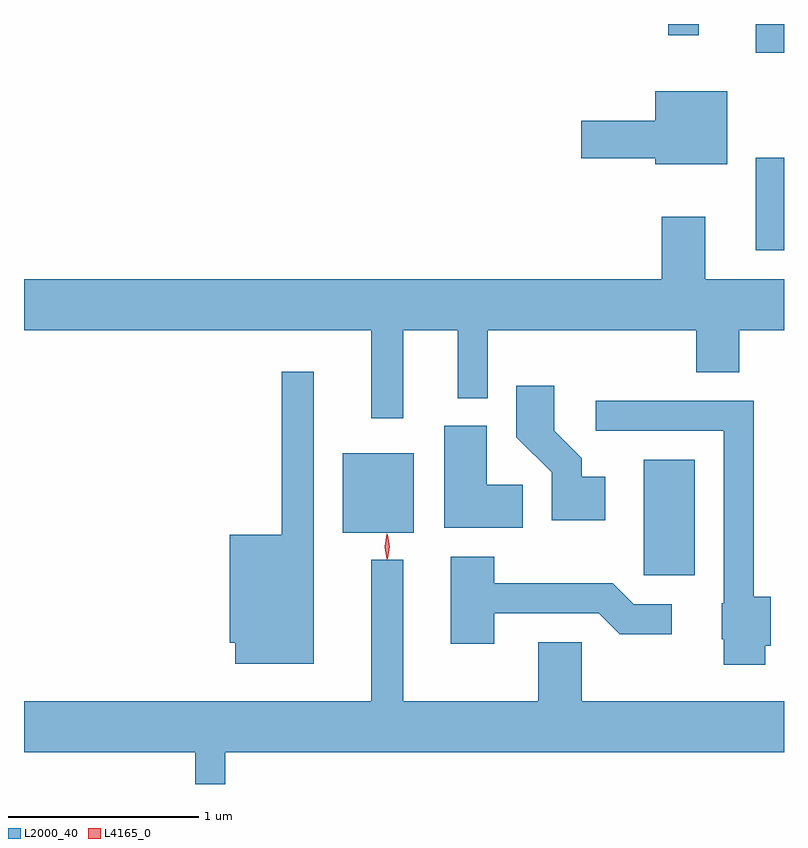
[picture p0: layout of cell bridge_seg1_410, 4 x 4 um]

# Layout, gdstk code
import gdstk
lib = gdstk.Library(unit=1e-6, precision=1e-09)
def R(c, l, rs):  # rectangles x0, y0, x1, y1
    for r in rs: c.add(gdstk.rectangle(r[:2], r[2:], *l))
def P(c, l, *ps):  # polygons
    for p in ps: c.add(gdstk.Polygon(p, *l))
L2000_40 = (2000, 40)
L4165_0 = (4165, 0)

bridge_seg1_410 = lib.new_cell('bridge_seg1_410')
R(bridge_seg1_410, L2000_40, [(351.756,964.886,352.024,965.494), (350.171,965.111,350.544,965.529), (352.346,966.598,352.494,967.084), (352.346,967.636,352.494,967.788), (351.886,967.728,352.044,967.788)])
P(bridge_seg1_410, L2000_40, [(352.194,967.434),(351.816,967.434),(351.816,967.279),(351.426,967.279),(351.426,967.081),(351.816,967.081),(351.816,967.051),(352.194,967.051)],
  [(350.489,966.176),(350.776,966.176),(350.776,965.818),(350.934,965.818),(350.934,966.176),(352.031,966.176),(352.031,965.956),(352.259,965.956),(352.259,966.176),(352.494,966.176),(352.494,966.444),(352.079,966.444),(352.079,966.774),(351.851,966.774),(351.851,966.444),(348.494,966.444),(348.494,966.176),(350.321,966.176),(350.321,965.713),(350.489,965.713)],
  [(350.019,965.958),(349.851,965.958),(349.851,965.099),(349.576,965.099),(349.576,964.531),(349.606,964.531),(349.606,964.421),(350.019,964.421)],
  [(351.554,965.404),(351.429,965.404),(351.429,965.502),(351.284,965.647),(351.284,965.884),(351.086,965.884),(351.086,965.614),(351.271,965.429),(351.271,965.176),(351.554,965.176)],
  [(352.394,964.516),(352.424,964.516),(352.424,964.774),(352.334,964.774),(352.334,965.804),(351.503,965.804),(351.503,965.646),(352.176,965.646),(352.176,964.74),(352.166,964.74),(352.166,964.55),(352.176,964.55),(352.176,964.416),(352.394,964.416)],
  [(351.119,965.364),(350.929,965.364),(350.929,965.674),(350.706,965.674),(350.706,965.136),(351.119,965.136)],
  [(350.969,964.686),(351.519,964.686),(351.629,964.576),(351.903,964.576),(351.903,964.734),(351.702,964.734),(351.592,964.844),(350.969,964.844),(350.969,964.984),(350.741,964.984),(350.741,964.526),(350.969,964.526)],
  [(349.554,963.956),(352.494,963.956),(352.494,964.224),(351.429,964.224),(351.429,964.534),(351.201,964.534),(351.201,964.224),(350.489,964.224),(350.489,964.968),(350.321,964.968),(350.321,964.224),(348.494,964.224),(348.494,963.956),(349.396,963.956),(349.396,963.788),(349.554,963.788)])
P(bridge_seg1_410, L4165_0, [(350.407,964.973),(350.397,965.037),(350.407,965.101),(350.408,965.102),(350.408,965.101),(350.418,965.037),(350.408,964.973),(350.408,964.973)],
  [(350.402,964.969),(350.402,964.97),(350.392,965.038),(350.402,965.106),(350.402,965.106),(350.403,965.106),(350.412,965.038),(350.403,964.97)])

lib.write_gds('bridge_seg1_410.gds')
